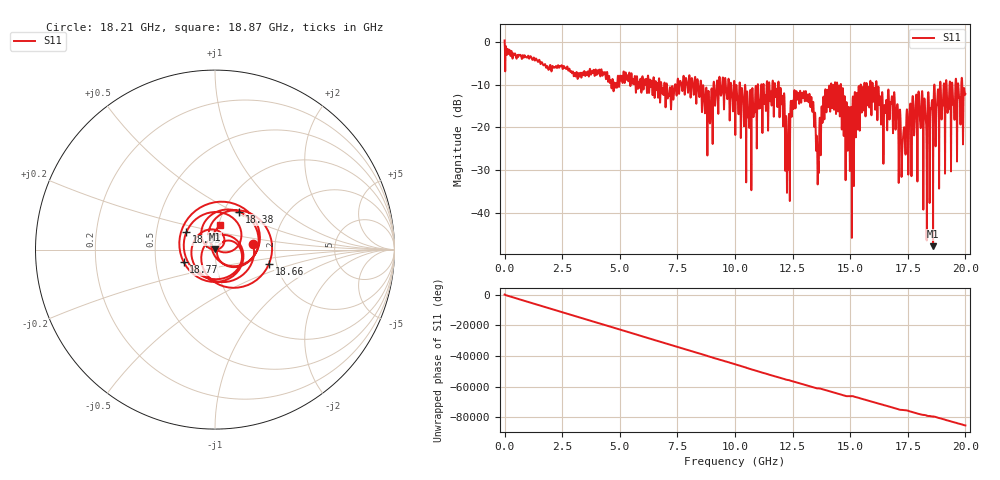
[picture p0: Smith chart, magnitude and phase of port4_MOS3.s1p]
! MS46122B
! 2250307/22442219
! 7/22/2025 3:18:50 PM
! C:\USERS\SPARKY\DOCUMENTS\VNA_DATA\JULY22_2025\295\PORT4_MOS3.S1P
! CHANNEL.1
! TR.MEASUREMENT
! RAW.DATA
# GHZ S RI R 50.0
! FREQ.GHZ  S11RE  S11IM
!; PortSelection: Port_1
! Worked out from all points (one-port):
!   10001 points, 1 MHz to 20 GHz, reference 50 ohm
!   lowest |S11| = -47.9 dB at 18.6 GHz (marker M1), VSWR 1.01, Z = 50.1 + j0.389 ohm
!   |S11| at or under -10 dB: 11.9 GHz to 14.17 GHz (2.265 GHz wide, 17.4 % of centre); 14.6 GHz to 15.45 GHz (852.6 MHz wide, 5.67 % of centre); 16.15 GHz to 18.65 GHz (2.5 GHz wide, 14.4 % of centre) (the widest 3 of 69)
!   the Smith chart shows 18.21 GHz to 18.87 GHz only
!   S11 on the Smith chart (normalised r, x): 18.21 GHz: 1.53, +0.10; 18.38 GHz: 1.18, +0.53; 18.53 GHz: 0.71, +0.14; 18.66 GHz: 1.82, -0.33; 18.77 GHz: 0.70, -0.10; 18.87 GHz: 1.02, +0.28
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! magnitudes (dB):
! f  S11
! 1 MHz  0.4
! 2.501 GHz  -5.8
! 5.001 GHz  -8.1
! 7.501 GHz  -9.5
! 8.869 GHz  -12.7
! 10 GHz  -15.2
! 10.64 GHz  -15.1
! 11.81 GHz  -11.2
! 12.06 GHz  -13.3
! 12.28 GHz  -26.0
! 12.5 GHz  -13.7
! 13.24 GHz  -12.2
! 13.62 GHz  -28.7
! 13.84 GHz  -12.8
! 14.09 GHz  -10.3
! 15 GHz  -21.6
! 16.05 GHz  -10.7
! 16.98 GHz  -19.5
! 17.31 GHz  -21.4
! 17.5 GHz  -21.2
! 18.21 GHz  -13.4
! 18.38 GHz  -12.0
! 18.53 GHz  -14.6
! 18.6 GHz  -47.9
! 18.66 GHz  -10.2
! 18.77 GHz  -14.5
! 18.87 GHz  -17.2
! 20 GHz  -12.2
